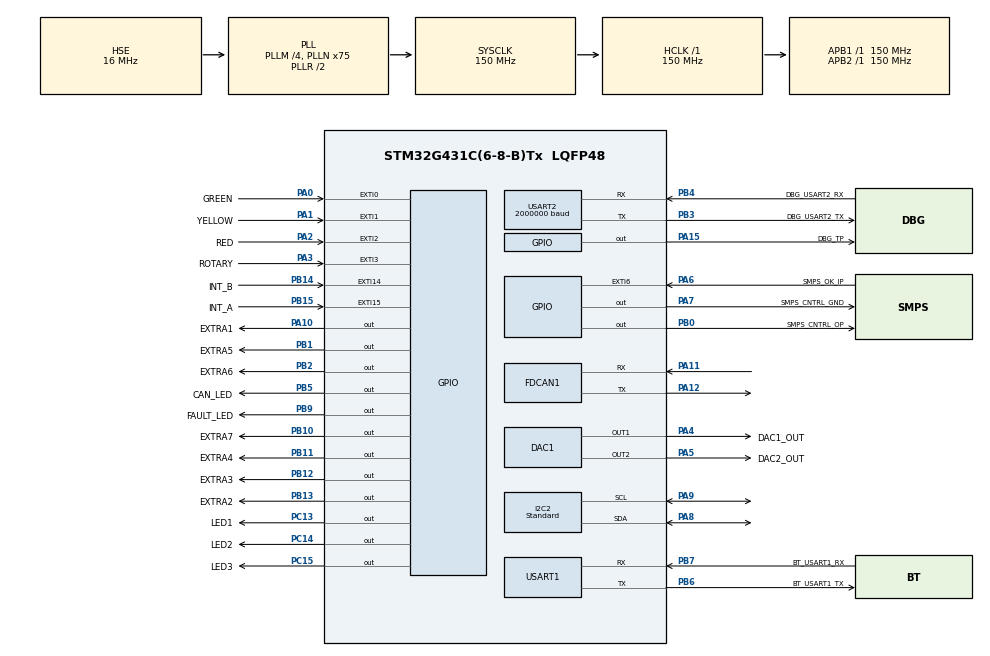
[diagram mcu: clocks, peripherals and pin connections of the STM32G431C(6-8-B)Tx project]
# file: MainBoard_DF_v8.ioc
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DAC1.DAC_Channel-DAC_OUT2=DAC_CHANNEL_2
Dma.Request0=USART2_TX
Dma.Request1=USART1_RX
Dma.USART1_RX.1.Direction=DMA_PERIPH_TO_MEMORY
Dma.USART1_RX.1.EventEnable=DISABLE
Dma.USART1_RX.1.Instance=DMA1_Channel1
Dma.USART1_RX.1.MemDataAlignment=DMA_MDATAALIGN_BYTE
Dma.USART1_RX.1.MemInc=DMA_MINC_ENABLE
Dma.USART1_RX.1.Mode=DMA_NORMAL
Dma.USART1_RX.1.PeriphDataAlignment=DMA_PDATAALIGN_BYTE
Dma.USART1_RX.1.PeriphInc=DMA_PINC_DISABLE
Dma.USART1_RX.1.Polarity=HAL_DMAMUX_REQ_GEN_RISING
Dma.USART1_RX.1.Priority=DMA_PRIORITY_LOW
Dma.USART1_RX.1.RequestNumber=1
Dma.USART1_RX.1.SignalID=NONE
Dma.USART1_RX.1.SyncEnable=DISABLE
Dma.USART1_RX.1.SyncPolarity=HAL_DMAMUX_SYNC_NO_EVENT
Dma.USART1_RX.1.SyncRequestNumber=1
Dma.USART1_RX.1.SyncSignalID=NONE
Dma.USART2_TX.0.Direction=DMA_MEMORY_TO_PERIPH
Dma.USART2_TX.0.EventEnable=DISABLE
Dma.USART2_TX.0.Instance=DMA1_Channel2
Dma.USART2_TX.0.MemDataAlignment=DMA_MDATAALIGN_BYTE
Dma.USART2_TX.0.MemInc=DMA_MINC_ENABLE
Dma.USART2_TX.0.Mode=DMA_NORMAL
Dma.USART2_TX.0.PeriphDataAlignment=DMA_PDATAALIGN_BYTE
Dma.USART2_TX.0.PeriphInc=DMA_PINC_DISABLE
Dma.USART2_TX.0.Polarity=HAL_DMAMUX_REQ_GEN_RISING
Dma.USART2_TX.0.Priority=DMA_PRIORITY_LOW
Dma.USART2_TX.0.RequestNumber=1
Dma.USART2_TX.0.SignalID=NONE
Dma.USART2_TX.0.SyncEnable=DISABLE
Dma.USART2_TX.0.SyncPolarity=HAL_DMAMUX_SYNC_NO_EVENT
Dma.USART2_TX.0.SyncRequestNumber=1
Dma.USART2_TX.0.SyncSignalID=NONE
FDCAN1.AutoRetransmission=ENABLE
FDCAN1.CalculateBaudRateNominal=5000000
FDCAN1.CalculateTimeBitNominal=200
FDCAN1.CalculateTimeQuantumNominal=6.666666666666667
FDCAN1.ClockDivider=FDCAN_CLOCK_DIV10
FDCAN1.DataSyncJumpWidth=3
FDCAN1.DataTimeSeg1=11
FDCAN1.DataTimeSeg2=3
FDCAN1.ExtFiltersNbr=1
FDCAN1.FrameFormat=FDCAN_FRAME_FD_BRS
FDCAN1.NominalPrescaler=1
FDCAN1.NominalSyncJumpWidth=6
FDCAN1.NominalTimeSeg1=23
FDCAN1.NominalTimeSeg2=6
FDCAN1.ProtocolException=DISABLE
FDCAN1.StdFiltersNbr=1
FDCAN1.TransmitPause=ENABLE
I2C2.Analog_Filter=I2C_ANALOGFILTER_DISABLE
I2C2.I2C_Fall_Time=200
I2C2.I2C_Rise_Time=300
I2C2.I2C_Speed_Mode=I2C_Standard
I2C2.NoStretchMode=I2C_NOSTRETCH_DISABLE
I2C2.Speed=50
I2C2.Timing=0x50D4E6FF
Mcu.Family=STM32G4
Mcu.Name=STM32G431C(6-8-B)Tx
Mcu.Package=LQFP48
NVIC.DMA1_Channel1_IRQn=true\:0\:0\:false\:false\:true\:false\:true\:true
NVIC.DMA1_Channel2_IRQn=true\:3\:0\:true\:false\:true\:false\:true\:true
NVIC.EXTI0_IRQn=true\:2\:0\:true\:false\:true\:true\:true\:true
NVIC.EXTI15_10_IRQn=true\:3\:0\:true\:false\:true\:true\:true\:true
NVIC.EXTI1_IRQn=true\:2\:0\:true\:false\:true\:true\:true\:true
NVIC.EXTI2_IRQn=true\:2\:0\:true\:false\:true\:true\:true\:true
NVIC.EXTI3_IRQn=true\:2\:0\:true\:false\:true\:true\:true\:true
NVIC.EXTI9_5_IRQn=true\:2\:0\:true\:false\:true\:true\:true\:true
NVIC.FDCAN1_IT0_IRQn=true\:0\:0\:false\:false\:true\:true\:true\:true
NVIC.PriorityGroup=NVIC_PRIORITYGROUP_4
NVIC.TIM1_BRK_TIM15_IRQn=true\:0\:0\:false\:false\:true\:true\:true\:true
NVIC.TIM1_TRG_COM_TIM17_IRQn=true\:5\:0\:true\:false\:true\:true\:true\:true
NVIC.TIM1_UP_TIM16_IRQn=true\:1\:0\:true\:false\:true\:true\:true\:true
NVIC.TIM6_DAC_IRQn=true\:0\:0\:false\:false\:true\:true\:true\:true
NVIC.TIM7_IRQn=true\:0\:0\:false\:false\:true\:true\:true\:true
NVIC.USART1_IRQn=true\:1\:0\:true\:false\:true\:true\:true\:true
NVIC.USART2_IRQn=true\:15\:0\:true\:false\:true\:true\:true\:true
PA0.GPIO_Label=GREEN
PA0.GPIO_ModeDefaultEXTI=GPIO_MODE_IT_RISING_FALLING
PA0.GPIO_PuPd=GPIO_PULLUP
PA0.Signal=GPXTI0
PA1.GPIO_Label=YELLOW
PA1.GPIO_ModeDefaultEXTI=GPIO_MODE_IT_RISING_FALLING
PA1.GPIO_PuPd=GPIO_PULLUP
PA1.Signal=GPXTI1
PA10.GPIO_Label=EXTRA1
PA10.Signal=GPIO_Output
PA11.Mode=FDCAN_Activate
PA11.Signal=FDCAN1_RX
PA12.Mode=FDCAN_Activate
PA12.Signal=FDCAN1_TX
PA13.Mode=Serial_Wire
PA13.Signal=SYS_JTMS-SWDIO
PA14.Mode=Serial_Wire
PA14.Signal=SYS_JTCK-SWCLK
PA15.GPIO_Label=DBG_TP
PA15.Signal=GPIO_Output
PA2.GPIO_Label=RED
PA2.GPIO_ModeDefaultEXTI=GPIO_MODE_IT_RISING_FALLING
PA2.GPIO_PuPd=GPIO_PULLUP
PA2.Signal=GPXTI2
PA3.GPIO_Label=ROTARY
PA3.GPIO_ModeDefaultEXTI=GPIO_MODE_IT_RISING_FALLING
PA3.Signal=GPXTI3
PA4.GPIO_Label=DAC1_OUT
PA4.Signal=COMP_DAC11_group
PA5.GPIO_Label=DAC2_OUT
PA5.Signal=COMP_DAC12_group
PA6.GPIO_Label=SMPS_OK_IP
PA6.GPIO_ModeDefaultEXTI=GPIO_MODE_IT_RISING_FALLING
PA6.Signal=GPXTI6
PA7.GPIO_Label=SMPS_CNTRL_GND
PA7.Signal=GPIO_Output
PA8.Mode=I2C
PA8.Signal=I2C2_SDA
PA9.Mode=I2C
PA9.Signal=I2C2_SCL
PB0.GPIO_Label=SMPS_CNTRL_OP
PB0.Signal=GPIO_Output
PB1.GPIO_Label=EXTRA5
PB1.Signal=GPIO_Output
PB10.GPIO_Label=EXTRA7
PB10.Signal=GPIO_Output
PB11.GPIO_Label=EXTRA4
PB11.Signal=GPIO_Output
PB12.GPIO_Label=EXTRA3
PB12.Signal=GPIO_Output
PB13.GPIO_Label=EXTRA2
PB13.Signal=GPIO_Output
PB14.GPIO_Label=INT_B
PB14.GPIO_ModeDefaultEXTI=GPIO_MODE_IT_FALLING
PB14.Signal=GPXTI14
PB15.GPIO_Label=INT_A
PB15.GPIO_ModeDefaultEXTI=GPIO_MODE_IT_FALLING
PB15.Signal=GPXTI15
PB2.GPIO_Label=EXTRA6
PB2.Signal=GPIO_Output
PB3.GPIO_Label=DBG_USART2_TX
PB3.Mode=Asynchronous
PB3.Signal=USART2_TX
PB4.GPIO_Label=DBG_USART2_RX
PB4.Mode=Asynchronous
PB4.Signal=USART2_RX
PB5.GPIO_Label=CAN_LED
PB5.Signal=GPIO_Output
PB6.GPIO_Label=BT_USART1_TX
PB6.Mode=Asynchronous
PB6.Signal=USART1_TX
PB7.GPIO_Label=BT_USART1_RX
PB7.Mode=Asynchronous
PB7.Signal=USART1_RX
PB9.GPIO_Label=FAULT_LED
PB9.Signal=GPIO_Output
PC13.GPIO_Label=LED1
PC13.GPIO_ModeDefaultOutputPP=GPIO_MODE_OUTPUT_PP
PC13.GPIO_PuPd=GPIO_NOPULL
PC13.Signal=GPIO_Output
PC14-OSC32_IN.GPIO_Label=LED2
PC14-OSC32_IN.GPIO_ModeDefaultOutputPP=GPIO_MODE_OUTPUT_PP
PC14-OSC32_IN.GPIO_PuPd=GPIO_NOPULL
PC14-OSC32_IN.Signal=GPIO_Output
PC15-OSC32_OUT.GPIO_Label=LED3
PC15-OSC32_OUT.GPIO_ModeDefaultOutputPP=GPIO_MODE_OUTPUT_PP
PC15-OSC32_OUT.GPIO_PuPd=GPIO_NOPULL
PC15-OSC32_OUT.Signal=GPIO_Output
PF0-OSC_IN.Mode=HSE-External-Oscillator
PF0-OSC_IN.Signal=RCC_OSC_IN
PF1-OSC_OUT.Mode=HSE-External-Oscillator
PF1-OSC_OUT.Signal=RCC_OSC_OUT
ProjectManager.HeapSize=0x200
ProjectManager.StackSize=0x400
ProjectManager.TargetToolchain=STM32CubeIDE
RCC.ADC12Freq_Value=150000000
RCC.AHBFreq_Value=150000000
RCC.APB1Freq_Value=150000000
RCC.APB1TimFreq_Value=150000000
RCC.APB2Freq_Value=150000000
RCC.APB2TimFreq_Value=150000000
RCC.CortexFreq_Value=150000000
RCC.EXTERNAL_CLOCK_VALUE=12288000
RCC.HCLKFreq_Value=150000000
RCC.HSE_VALUE=16000000
RCC.HSI48_VALUE=48000000
RCC.HSI_VALUE=16000000
RCC.LSE_VALUE=32768
RCC.PLLM=RCC_PLLM_DIV4
RCC.PLLN=75
RCC.PLLSourceVirtual=RCC_PLLSOURCE_HSE
RCC.SYSCLKFreq_VALUE=150000000
RCC.SYSCLKSource=RCC_SYSCLKSOURCE_PLLCLK
RCC.USBFreq_Value=150000000
RCC.VCOOutputFreq_Value=300000000
SH.COMP_DAC11_group.0=DAC1_OUT1,DAC_OUT1
SH.COMP_DAC12_group.0=DAC1_OUT2,DAC_OUT2
TIM15.PeriodNoDither=24999
TIM15.Prescaler=1499
TIM16.AutoReloadPreload=TIM_AUTORELOAD_PRELOAD_ENABLE
TIM16.Dithering=Disable
TIM16.PeriodNoDither=4999
TIM16.Prescaler=29999
TIM17.AutoReloadPreload=TIM_AUTORELOAD_PRELOAD_ENABLE
TIM17.PeriodNoDither=1499
TIM17.Prescaler=1499
TIM6.PeriodNoDither=49999
TIM6.Prescaler=1499
TIM7.PeriodNoDither=9999
TIM7.Prescaler=1499
USART1.DMADisableonRxErrorParam=ADVFEATURE_DMA_DISABLEONRXERROR
USART1.OverrunDisableParam=ADVFEATURE_OVERRUN_DISABLE
USART1.SwapParam=ADVFEATURE_SWAP_ENABLE
USART1.VirtualMode-Asynchronous=VM_ASYNC
USART2.BaudRate=2000000
USART2.VirtualMode-Asynchronous=VM_ASYNC
VP_TIM15_VS_ClockSourceINT.Mode=Internal
VP_TIM16_VS_ClockSourceINT.Mode=Enable_Timer
VP_TIM17_VS_ClockSourceINT.Mode=Enable_Timer
VP_TIM6_VS_ClockSourceINT.Mode=Enable_Timer
VP_TIM7_VS_ClockSourceINT.Mode=Enable_Timer
board=custom

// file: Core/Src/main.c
/* USER CODE BEGIN Header */
/**
  ******************************************************************************
  * @file           : main.c
  * @brief          : Main program body
  ******************************************************************************
  * @attention
  *
  * Copyright (c) 2022 STMicroelectronics.
  * All rights reserved.
  *
  * This software is licensed under terms that can be found in the LICENSE file
  * in the root directory of this software component.
  * If no LICENSE file comes with this software, it is provided AS-IS.
  *
  ******************************************************************************
  */
/* USER CODE END Header */
#include "main.h"

/* USER CODE BEGIN Includes */
#include "FDCAN.h"
#include "CAN_MotherBoard.h"
#include "Ack.h"

#include "machineSettings.h"
#include "MachineErrors.h"
#include "MotorComms.h"
#include "SysObserver.h"

#include "userButtons.h"
#include "TowerLamp.h"
#include "SMPS.h"
#include "MachineSensors.h"
#include "mcp23017.h"
#include "Eeprom.h"
#include "Log.h"

#include "Struct.h"
#include "StateMachine.h"
#include "CommonConstants.h"

#include "BT_Fns.h"
#include "BT_Machine.h"
#include "BT_Console.h"

#include "MB_LEDs.h"
#include "DataRequest.h"
#include "machineEepromSettings.h"

/* USER CODE END Includes */

/* USER CODE BEGIN PTD */
#define MCP23017_ADDRESS	0x21
/* USER CODE END PTD */

DAC_HandleTypeDef hdac1;

FDCAN_HandleTypeDef hfdcan1;

I2C_HandleTypeDef hi2c2;

TIM_HandleTypeDef htim6;
TIM_HandleTypeDef htim7;
TIM_HandleTypeDef htim15;
TIM_HandleTypeDef htim16;
TIM_HandleTypeDef htim17;

UART_HandleTypeDef huart1;
UART_HandleTypeDef huart2;
DMA_HandleTypeDef hdma_usart1_rx;
DMA_HandleTypeDef hdma_usart2_tx;

/* USER CODE BEGIN PV */
machineSettingsTypeDef msp;
machineSettingsTypeDef ps;
machineSettingsTypeDef msp_BT;
mcPIDSettings pid_BT;
machineParamsTypeDef mcParams;
MBErrorsTypeDef MBE;
MachineErrorsTypedef ME;

SetupMotor SU[3];
ACKTypeDef ack;

StateTypeDef S;
DiagnosticsTypeDef D;
RunTime_TypeDef R[3]; // always keep this as 6, as max is 6 for carding

SysObserver SO;
BTRecvMsg_TypeDef BT;
BTConsole BTCmd;

userBtns usrBtns;
MCP23017_HandleTypeDef hmcp;
MCP23017_PortB mcp_portB;
MCP23017_PortB mcp_portB_whichSensor;
MCP23017_PortB mcp_portB_sensorVal;
SensorTypeDef sensor;
Log L;

DataReq DR;
ALSettings_BT_TypeDef al_bt;

char BufferRec[150];
char BufferTransmit[150] ;// Buffer for Transmit
char LogBuffer[2048];

/* USER CODE END PV */

void SystemClock_Config(void);
static void MX_GPIO_Init(void);
static void MX_DMA_Init(void);
static void MX_FDCAN1_Init(void);
static void MX_USART1_UART_Init(void);
static void MX_DAC1_Init(void);
static void MX_USART2_UART_Init(void);
static void MX_I2C2_Init(void);
static void MX_TIM17_Init(void);
static void MX_TIM16_Init(void);
static void MX_TIM15_Init(void);
static void MX_TIM7_Init(void);
static void MX_TIM6_Init(void);

/* USER CODE BEGIN 0 */

uint8_t stopSMPS = 0;
uint8_t timer7Count = 0;

void HAL_TIM_PeriodElapsedCallback(TIM_HandleTypeDef *htim)
{
  UNUSED(htim);
  if(htim==&htim17){	// ACK TIMER - 15ms
	ack.waitingForAckResult = 0;
	if (ack.motorAcksCheck == ack.motorAcksRecvd){
		ack.ackResult = ACK_SUCCESS;
	}else{
		ack.ackResult = ACK_FAIL;
		if (ack.ackChkType == CRITICAL_ACK){
			ME.ErrorFlag = 1;
			ME_addErrors(&ME,ERR_SYSTEM_LEVEL_SOURCE, SYS_ACK_ERROR, ERROR_SOURCE_SYSTEM, ack.ackForWhat); // maybe later find out which ACK failed.
			S.SMPS_switchOff = 1;
		}
	}
	HAL_TIM_Base_Stop_IT(&htim17);
  }

  if (htim == &htim16){ // 1 sec timer that checks if the CAN connections are all OK.
	  SO.canOverallStatus = SO_checkCanObservers(&SO);
	  /*if (SO.canOverallStatus != ALL_CANS_HEALTHY){
		  ME.ErrorFlag = 1;
		  ME_addErrors(&ME,ERR_SYSTEM_LEVEL_SOURCE,SYS_CAN_CUT_ERROR, SO.canOverallStatus, 0); // maybe later find out which ACK failed.
		  S.SMPS_switchOff = 1;
		  //stp the timer if you find you have an error.
		  HAL_TIM_Base_Stop_IT(&htim16);
	  }*/
  }

  if(htim==&htim15){
	  // This is meant to send motor run time data to the app when diag is running.
	  // 5,6,7 motor IDs are drafting,winding and lift both. else only 1 motor at a time
	  if ((D.motorID <= 4)|| (D.motorID > 7)){
		  uint8_t packetSize = BT_MC_generateDiagnosticMsg(D.motorID);
		  HAL_UART_Transmit_IT(&huart1,(uint8_t*)BufferTransmit,packetSize);
	  }
	  else{
		  // finding which motors happens inside.
		  uint8_t packetSize = BT_MC_generateDiagnosticMsg_DoubleMotors(D.motorID);
		  HAL_UART_Transmit_IT(&huart1,(uint8_t*)BufferTransmit,packetSize);
	  }
  }

  if(htim == &htim7){ //100ms timer for state sending to BT
	  timer7Count ++;
	  if (timer7Count % 5 == 0){
		  S.BT_sendState = 1;
		  if (S.runMode== RUN_ALL){
			  mcParams.currentDeliveryMMin = CalculateDeliverySpeed(R[0].presentRPM);
			  mcParams.currentMtrsRun += mcParams.currentDeliveryMMin/60.0 * 0.5;
		  }
	  }

	  if (timer7Count == 10){
		  S.oneSecTimer++;
		  timer7Count = 0;
		  Toggle_State_LEDs(&S);
		  if(DR.requestSent){
			  DR.timer++;
		  }
		  if (sensor.lappingTimerIncrementBool){
			  sensor.lappingSensorTimer++;
		  }
		  if (sensor.sliverCutTimerIncrementBool){
			  sensor.slivercutSensorTimer++;
		  }
	  }
  }

}

uint8_t sensorTrigger;
uint8_t sensorVal;
void HAL_GPIO_EXTI_Callback(uint16_t GPIO_Pin){
	UNUSED(GPIO_Pin);

	if (GPIO_Pin == INT_B_Pin){
		sensorTrigger = Sensor_whichTriggered(&hmcp,&mcp_portB_sensorVal);
		if (sensorTrigger == LAPPING_SENSOR){
			sensor.lappingSensor = Sensor_GetTriggerValue(&hmcp,&mcp_portB_sensorVal,LAPPING_SENSOR);
		}else if (sensorTrigger == CREEL_SLIVER_CUT_SENSOR){
			sensor.sliverCutSensor = Sensor_GetTriggerValue(&hmcp,&mcp_portB_sensorVal,CREEL_SLIVER_CUT_SENSOR);
		}
	}else if (GPIO_Pin == SMPS_OK_IP_Pin){
		// if the mother board has turned the SMPS on, but the smps is off, we have a problem!
		S.SMPS_OK_signal = (uint8_t)(HAL_GPIO_ReadPin(SMPS_OK_IP_GPIO_Port, SMPS_OK_IP_Pin));
		/*if ((S.SMPS_cntrl == SMPS_TURNEDON) && (S.SMPS_OK_signal == SMPS_OFF)){
			ME.ErrorFlag = 1;
			ME_addErrors(&ME,ERR_SYSTEM_LEVEL_SOURCE, SYS_SMPS_ERROR, ERROR_SOURCE_SYSTEM,0); // maybe later find out which ACK failed.
			S.SMPS_switchOff = 1;
		}*/
	}
	else{
		// for the user input buttons - RED_pin,Green_Pin,Yellow_Pin are falling edge interrupts. Rotary_Pin is both
		 usrBtns.initialState =(uint8_t)(HAL_GPIO_ReadPin(RED_GPIO_Port, GPIO_Pin));
		 if (GPIO_Pin == RED_Pin){
			  usrBtns.redBtn = usrBtns.initialState;
		  }
		  else if (GPIO_Pin == GREEN_Pin){
			  usrBtns.greenBtn = usrBtns.initialState;
		  }
		  else if (GPIO_Pin == YELLOW_Pin){
			  usrBtns.yellowBtn = usrBtns.initialState;
		  }else{
			  usrBtns.rotarySwitch = usrBtns.initialState;
		  }
	}
}

void HAL_FDCAN_RxFifo0Callback(FDCAN_HandleTypeDef *hfdcan, uint32_t RxFifo0ITs)
{

  if((RxFifo0ITs & FDCAN_IT_RX_FIFO0_NEW_MESSAGE) != RESET)
  {
    /* Retreive Rx messages from RX FIFO0 */
    if (HAL_FDCAN_GetRxMessage(hfdcan, FDCAN_RX_FIFO0, &RxHeader, RxData) == HAL_OK)
    {
    	FDCAN_parseForMotherBoard();
    }
    if (HAL_FDCAN_ActivateNotification(hfdcan, FDCAN_IT_RX_FIFO0_NEW_MESSAGE, 0) != HAL_OK)
    {
      /* Notification Error */
      Error_Handler();
    }
  }
}
/* USER CODE END 0 */

int main(void)
{

  /* MCU Configuration--------------------------------------------------------*/

  /* Reset of all peripherals, Initializes the Flash interface and the Systick. */
  HAL_Init();

  /* Configure the system clock */
  SystemClock_Config();

  /* Initialize all configured peripherals */
  MX_GPIO_Init();
  MX_DMA_Init();
  MX_FDCAN1_Init();
  MX_USART1_UART_Init();
  MX_DAC1_Init();
  MX_USART2_UART_Init();
  MX_I2C2_Init();
  MX_TIM17_Init();
  MX_TIM16_Init();
  MX_TIM15_Init();
  MX_TIM7_Init();
  MX_TIM6_Init();
  /* USER CODE BEGIN 2 */

  //SInitialize custom typeDefs
  InitializeDiagnostic_TypeDef(&D);
  InitializeMachineSettings(&msp);
  InitializeMotherBoardErrors_TypeDef(&MBE);
  InitializeState_TypeDef(&S);
  InitializeRunTime_TypeDef();
  InitializeBTMsg_TypeDef(&BT);

  FDCAN_TxInit();
  FDCAN_RxFilterInit();

  //get Flyer Settings from Eeprom
  ReadMachineSettingsFromEeprom(&msp);
  //TODO change this to the setup method like in the motor sections.
  MBE.EepromLoadValsGood  = CheckMachineSettings(&msp);
  //MBE.EepromLoadValsGood = 0;
  if (MBE.EepromLoadValsGood == 0){
	  LoadDefaultMachineSettings(&msp);
	  //manualWrite
	  /*msp.delivery_mMin = 80;
	  msp.draft = 8.0;
	  msp.lengthLimit_m = 100;
	  msp.rampUpTime = 8;
	  msp.rampDownTime = 8;
	  msp.creelTensionFactor  = 1;
	  */
	  MBE.defaults_eepromWriteFailed = WriteMachineSettingsIntoEeprom(&msp);
  }
  CalculateMachineParameters(&msp,&mcParams);
  ReadySetupCommand_AllMotors(&msp,&mcParams);
  ReadALSettingsFromEeprom(&al_bt);
   uint16_t alValidFlag = EE_ReadInteger(AL_VALID_FLAG_ADDR);
   if ((alValidFlag != AL_VALID_FLAG_VALUE) || (CheckALSettings(&al_bt) == 0)) {
       LoadDefaultALSettings(&al_bt);
       // write defaults so next boot reads valid data
       WriteALSettingsIntoEeprom(&al_bt);
   }

  InitializePiecingSettings(&ps);

  //Interrupts on UART1 connected to the bluetooth
  __HAL_UART_ENABLE_IT(&huart1,UART_IT_IDLE);//interrupt on receive buffer not empty(buffer full)
  __HAL_UART_ENABLE_IT(&huart1,UART_IT_TC );//interrupt on Transmission Complete
  HAL_UART_Receive_DMA(&huart1,(uint8_t *)BufferRec,150);	 // start the receive here.

  __HAL_UART_ENABLE_IT(&huart2,UART_IT_TC );//interrupt on Transmission Complete

  //set up MCP chip
  mcp23017_init(&hmcp, &hi2c2, MCP23017_ADDRESS);
  mcp23017_setupForMainBoard(&hmcp);
  //set the initial Tower Lamp State
  TowerLamp_SetState(&hmcp, &mcp_portB,BUZZER_OFF,RED_OFF,GREEN_OFF,AMBER_OFF);
  TowerLamp_ApplyState(&hmcp,&mcp_portB);

  //read initial btns states and set either setup or run state.
  UsrBtns_SetInitialStates();
  S.current_state = INITIAL_STATE;
  ChangeState(&S,IDLE_STATE);

  //Setup the Bluetooth device MANUALLY ONLY.
  BTCmd.manual_setup = 0;
  if (BTCmd.manual_setup){
	  BTCmd.manual_setup_result = BT_SetupDevice();
	  if(BTCmd.manual_setup_result != 1){
		 BTCmd.manual_setup_rebootOK = BTConsole_WriteCMD(BTCMD_REBOOT);
	  }
  }

  //Start the 100 msec Timer for sending BT state commands
  HAL_TIM_Base_Start_IT(&htim7);
  //Start the 1000 msec Timer for checking if the CAN bus is Ok
  HAL_TIM_Base_Start_IT(&htim16);

  //TODO : Read the state and set these values.
  sensor.lappingSensor = Sensor_ReadValueDirectly(&hmcp,&mcp_portB_sensorVal,LAPPING_SENSOR); // initial state
  sensor.sliverCutSensor = Sensor_ReadValueDirectly(&hmcp,&mcp_portB_sensorVal,CREEL_SLIVER_CUT_SENSOR);

  //SMPS - turn on the SMPS, wait a while to see if  short command.
  SMPS_Init();
  HAL_Delay(1000);//contactor takes a long time to turn on.
  S.SMPS_cntrl = SMPS_TURNEDON;

  /* USER CODE END 2 */

  /* Infinite loop */
  /* USER CODE BEGIN WHILE */

  while (1)
  {

	if (S.current_state == IDLE_STATE){
		IdleState();
	}

	if (S.current_state == RUN_STATE){
		RunState();
	}

	if (S.current_state == DEBUG_STATE){
		DebugState();
	}

	if (S.current_state == DIAGNOSTICS_STATE){
		DiagnosticsState();
	}

	if (S.current_state == SETTINGS_STATE){
		SettingsState();
	}

	if (S.current_state == ERROR_STATE){
		ErrorState();
	}
	if (S.current_state == FINISHED_STATE){
		FinishState();
	}

    /* USER CODE END WHILE */

  }
}

void SystemClock_Config(void)
{
  RCC_OscInitTypeDef RCC_OscInitStruct = {0};
  RCC_ClkInitTypeDef RCC_ClkInitStruct = {0};

  /** Configure the main internal regulator output voltage
  */
  HAL_PWREx_ControlVoltageScaling(PWR_REGULATOR_VOLTAGE_SCALE1);

  /** Initializes the RCC Oscillators according to the specified parameters
  * in the RCC_OscInitTypeDef structure.
  */
  RCC_OscInitStruct.OscillatorType = RCC_OSCILLATORTYPE_HSE;
  RCC_OscInitStruct.HSEState = RCC_HSE_ON;
  RCC_OscInitStruct.PLL.PLLState = RCC_PLL_ON;
  RCC_OscInitStruct.PLL.PLLSource = RCC_PLLSOURCE_HSE;
  RCC_OscInitStruct.PLL.PLLM = RCC_PLLM_DIV4;
  RCC_OscInitStruct.PLL.PLLN = 75;
  RCC_OscInitStruct.PLL.PLLP = RCC_PLLP_DIV2;
  RCC_OscInitStruct.PLL.PLLQ = RCC_PLLQ_DIV2;
  RCC_OscInitStruct.PLL.PLLR = RCC_PLLR_DIV2;
  if (HAL_RCC_OscConfig(&RCC_OscInitStruct) != HAL_OK)
  {
    Error_Handler();
  }

  /** Initializes the CPU, AHB and APB buses clocks
  */
  RCC_ClkInitStruct.ClockType = RCC_CLOCKTYPE_HCLK|RCC_CLOCKTYPE_SYSCLK
                              |RCC_CLOCKTYPE_PCLK1|RCC_CLOCKTYPE_PCLK2;
  RCC_ClkInitStruct.SYSCLKSource = RCC_SYSCLKSOURCE_PLLCLK;
  RCC_ClkInitStruct.AHBCLKDivider = RCC_SYSCLK_DIV1;
  RCC_ClkInitStruct.APB1CLKDivider = RCC_HCLK_DIV1;
  RCC_ClkInitStruct.APB2CLKDivider = RCC_HCLK_DIV1;

  if (HAL_RCC_ClockConfig(&RCC_ClkInitStruct, FLASH_LATENCY_4) != HAL_OK)
  {
    Error_Handler();
  }
}

static void MX_DAC1_Init(void)
{

  DAC_ChannelConfTypeDef sConfig = {0};

  /** DAC Initialization
  */
  hdac1.Instance = DAC1;
  if (HAL_DAC_Init(&hdac1) != HAL_OK)
  {
    Error_Handler();
  }

  /** DAC channel OUT1 config
  */
  sConfig.DAC_HighFrequency = DAC_HIGH_FREQUENCY_INTERFACE_MODE_AUTOMATIC;
  sConfig.DAC_DMADoubleDataMode = DISABLE;
  sConfig.DAC_SignedFormat = DISABLE;
  sConfig.DAC_SampleAndHold = DAC_SAMPLEANDHOLD_DISABLE;
  sConfig.DAC_Trigger = DAC_TRIGGER_NONE;
  sConfig.DAC_Trigger2 = DAC_TRIGGER_NONE;
  sConfig.DAC_OutputBuffer = DAC_OUTPUTBUFFER_ENABLE;
  sConfig.DAC_ConnectOnChipPeripheral = DAC_CHIPCONNECT_EXTERNAL;
  sConfig.DAC_UserTrimming = DAC_TRIMMING_FACTORY;
  if (HAL_DAC_ConfigChannel(&hdac1, &sConfig, DAC_CHANNEL_1) != HAL_OK)
  {
    Error_Handler();
  }

  /** DAC channel OUT2 config
  */
  if (HAL_DAC_ConfigChannel(&hdac1, &sConfig, DAC_CHANNEL_2) != HAL_OK)
  {
    Error_Handler();
  }

}

static void MX_FDCAN1_Init(void)
{

  hfdcan1.Instance = FDCAN1;
  hfdcan1.Init.ClockDivider = FDCAN_CLOCK_DIV10;
  hfdcan1.Init.FrameFormat = FDCAN_FRAME_FD_BRS;
  hfdcan1.Init.Mode = FDCAN_MODE_NORMAL;
  hfdcan1.Init.AutoRetransmission = ENABLE;
  hfdcan1.Init.TransmitPause = ENABLE;
  hfdcan1.Init.ProtocolException = DISABLE;
  hfdcan1.Init.NominalPrescaler = 1;
  hfdcan1.Init.NominalSyncJumpWidth = 6;
  hfdcan1.Init.NominalTimeSeg1 = 23;
  hfdcan1.Init.NominalTimeSeg2 = 6;
  hfdcan1.Init.DataPrescaler = 1;
  hfdcan1.Init.DataSyncJumpWidth = 3;
  hfdcan1.Init.DataTimeSeg1 = 11;
  hfdcan1.Init.DataTimeSeg2 = 3;
  hfdcan1.Init.StdFiltersNbr = 1;
  hfdcan1.Init.ExtFiltersNbr = 1;
  hfdcan1.Init.TxFifoQueueMode = FDCAN_TX_FIFO_OPERATION;
  if (HAL_FDCAN_Init(&hfdcan1) != HAL_OK)
  {
    Error_Handler();
  }

}

static void MX_I2C2_Init(void)
{

  hi2c2.Instance = I2C2;
  hi2c2.Init.Timing = 0x50D4E6FF;
  hi2c2.Init.OwnAddress1 = 0;
  hi2c2.Init.AddressingMode = I2C_ADDRESSINGMODE_7BIT;
  hi2c2.Init.DualAddressMode = I2C_DUALADDRESS_DISABLE;
  hi2c2.Init.OwnAddress2 = 0;
  hi2c2.Init.OwnAddress2Masks = I2C_OA2_NOMASK;
  hi2c2.Init.GeneralCallMode = I2C_GENERALCALL_DISABLE;
  hi2c2.Init.NoStretchMode = I2C_NOSTRETCH_DISABLE;
  if (HAL_I2C_Init(&hi2c2) != HAL_OK)
  {
    Error_Handler();
  }

  /** Configure Analogue filter
  */
  if (HAL_I2CEx_ConfigAnalogFilter(&hi2c2, I2C_ANALOGFILTER_DISABLE) != HAL_OK)
  {
    Error_Handler();
  }

  /** Configure Digital filter
  */
  if (HAL_I2CEx_ConfigDigitalFilter(&hi2c2, 0) != HAL_OK)
  {
    Error_Handler();
  }

}

static void MX_TIM6_Init(void)
{

  TIM_MasterConfigTypeDef sMasterConfig = {0};

  htim6.Instance = TIM6;
  htim6.Init.Prescaler = 1499;
  htim6.Init.CounterMode = TIM_COUNTERMODE_UP;
  htim6.Init.Period = 49999;
  htim6.Init.AutoReloadPreload = TIM_AUTORELOAD_PRELOAD_DISABLE;
  if (HAL_TIM_Base_Init(&htim6) != HAL_OK)
  {
    Error_Handler();
  }
  sMasterConfig.MasterOutputTrigger = TIM_TRGO_RESET;
  sMasterConfig.MasterSlaveMode = TIM_MASTERSLAVEMODE_DISABLE;
  if (HAL_TIMEx_MasterConfigSynchronization(&htim6, &sMasterConfig) != HAL_OK)
  {
    Error_Handler();
  }

}

static void MX_TIM7_Init(void)
{

  TIM_MasterConfigTypeDef sMasterConfig = {0};

  htim7.Instance = TIM7;
  htim7.Init.Prescaler = 1499;
  htim7.Init.CounterMode = TIM_COUNTERMODE_UP;
  htim7.Init.Period = 9999;
  htim7.Init.AutoReloadPreload = TIM_AUTORELOAD_PRELOAD_DISABLE;
  if (HAL_TIM_Base_Init(&htim7) != HAL_OK)
  {
    Error_Handler();
  }
  sMasterConfig.MasterOutputTrigger = TIM_TRGO_RESET;
  sMasterConfig.MasterSlaveMode = TIM_MASTERSLAVEMODE_DISABLE;
  if (HAL_TIMEx_MasterConfigSynchronization(&htim7, &sMasterConfig) != HAL_OK)
  {
    Error_Handler();
  }

}

static void MX_TIM15_Init(void)
{

  TIM_ClockConfigTypeDef sClockSourceConfig = {0};
  TIM_MasterConfigTypeDef sMasterConfig = {0};

  htim15.Instance = TIM15;
  htim15.Init.Prescaler = 1499;
  htim15.Init.CounterMode = TIM_COUNTERMODE_UP;
  htim15.Init.Period = 24999;
  htim15.Init.ClockDivision = TIM_CLOCKDIVISION_DIV1;
  htim15.Init.RepetitionCounter = 0;
  htim15.Init.AutoReloadPreload = TIM_AUTORELOAD_PRELOAD_DISABLE;
  if (HAL_TIM_Base_Init(&htim15) != HAL_OK)
  {
    Error_Handler();
  }
  sClockSourceConfig.ClockSource = TIM_CLOCKSOURCE_INTERNAL;
  if (HAL_TIM_ConfigClockSource(&htim15, &sClockSourceConfig) != HAL_OK)
  {
    Error_Handler();
  }
  sMasterConfig.MasterOutputTrigger = TIM_TRGO_RESET;
  sMasterConfig.MasterSlaveMode = TIM_MASTERSLAVEMODE_DISABLE;
  if (HAL_TIMEx_MasterConfigSynchronization(&htim15, &sMasterConfig) != HAL_OK)
  {
    Error_Handler();
  }

}

static void MX_TIM16_Init(void)
{

  htim16.Instance = TIM16;
  htim16.Init.Prescaler = 29999;
  htim16.Init.CounterMode = TIM_COUNTERMODE_UP;
  htim16.Init.Period = 4999;
  htim16.Init.ClockDivision = TIM_CLOCKDIVISION_DIV1;
  htim16.Init.RepetitionCounter = 0;
  htim16.Init.AutoReloadPreload = TIM_AUTORELOAD_PRELOAD_ENABLE;
  if (HAL_TIM_Base_Init(&htim16) != HAL_OK)
  {
    Error_Handler();
  }

}

static void MX_TIM17_Init(void)
{

  /* USER CODE BEGIN TIM17_Init 1 */
//2uS timer
  /* USER CODE END TIM17_Init 1 */
  htim17.Instance = TIM17;
  htim17.Init.Prescaler = 1499;
  htim17.Init.CounterMode = TIM_COUNTERMODE_UP;
  htim17.Init.Period = 1499;
  htim17.Init.ClockDivision = TIM_CLOCKDIVISION_DIV1;
  htim17.Init.RepetitionCounter = 0;
  htim17.Init.AutoReloadPreload = TIM_AUTORELOAD_PRELOAD_ENABLE;
  if (HAL_TIM_Base_Init(&htim17) != HAL_OK)
  {
    Error_Handler();
  }

}

static void MX_USART1_UART_Init(void)
{

  huart1.Instance = USART1;
  huart1.Init.BaudRate = 115200;
  huart1.Init.WordLength = UART_WORDLENGTH_8B;
  huart1.Init.StopBits = UART_STOPBITS_1;
  huart1.Init.Parity = UART_PARITY_NONE;
  huart1.Init.Mode = UART_MODE_TX_RX;
  huart1.Init.HwFlowCtl = UART_HWCONTROL_NONE;
  huart1.Init.OverSampling = UART_OVERSAMPLING_16;
  huart1.Init.OneBitSampling = UART_ONE_BIT_SAMPLE_DISABLE;
  huart1.Init.ClockPrescaler = UART_PRESCALER_DIV1;
  huart1.AdvancedInit.AdvFeatureInit = UART_ADVFEATURE_SWAP_INIT|UART_ADVFEATURE_RXOVERRUNDISABLE_INIT
                              |UART_ADVFEATURE_DMADISABLEONERROR_INIT;
  huart1.AdvancedInit.Swap = UART_ADVFEATURE_SWAP_ENABLE;
  huart1.AdvancedInit.OverrunDisable = UART_ADVFEATURE_OVERRUN_DISABLE;
  huart1.AdvancedInit.DMADisableonRxError = UART_ADVFEATURE_DMA_DISABLEONRXERROR;
  if (HAL_UART_Init(&huart1) != HAL_OK)
  {
    Error_Handler();
  }
  if (HAL_UARTEx_SetTxFifoThreshold(&huart1, UART_TXFIFO_THRESHOLD_1_8) != HAL_OK)
  {
    Error_Handler();
  }
  if (HAL_UARTEx_SetRxFifoThreshold(&huart1, UART_RXFIFO_THRESHOLD_1_8) != HAL_OK)
  {
    Error_Handler();
  }
  if (HAL_UARTEx_DisableFifoMode(&huart1) != HAL_OK)
  {
    Error_Handler();
  }

}

static void MX_USART2_UART_Init(void)
{

  huart2.Instance = USART2;
  huart2.Init.BaudRate = 2000000;
  huart2.Init.WordLength = UART_WORDLENGTH_8B;
  huart2.Init.StopBits = UART_STOPBITS_1;
  huart2.Init.Parity = UART_PARITY_NONE;
  huart2.Init.Mode = UART_MODE_TX_RX;
  huart2.Init.HwFlowCtl = UART_HWCONTROL_NONE;
  huart2.Init.OverSampling = UART_OVERSAMPLING_16;
  huart2.Init.OneBitSampling = UART_ONE_BIT_SAMPLE_DISABLE;
  huart2.Init.ClockPrescaler = UART_PRESCALER_DIV1;
  huart2.AdvancedInit.AdvFeatureInit = UART_ADVFEATURE_NO_INIT;
  if (HAL_UART_Init(&huart2) != HAL_OK)
  {
    Error_Handler();
  }
  if (HAL_UARTEx_SetTxFifoThreshold(&huart2, UART_TXFIFO_THRESHOLD_1_8) != HAL_OK)
  {
    Error_Handler();
  }
  if (HAL_UARTEx_SetRxFifoThreshold(&huart2, UART_RXFIFO_THRESHOLD_1_8) != HAL_OK)
  {
    Error_Handler();
  }
  if (HAL_UARTEx_DisableFifoMode(&huart2) != HAL_OK)
  {
    Error_Handler();
  }

}

static void MX_DMA_Init(void)
{

  /* DMA controller clock enable */
  __HAL_RCC_DMAMUX1_CLK_ENABLE();
  __HAL_RCC_DMA1_CLK_ENABLE();

  /* DMA interrupt init */
  /* DMA1_Channel1_IRQn interrupt configuration */
  HAL_NVIC_SetPriority(DMA1_Channel1_IRQn, 0, 0);
  HAL_NVIC_EnableIRQ(DMA1_Channel1_IRQn);
  /* DMA1_Channel2_IRQn interrupt configuration */
  HAL_NVIC_SetPriority(DMA1_Channel2_IRQn, 3, 0);
  HAL_NVIC_EnableIRQ(DMA1_Channel2_IRQn);

}

static void MX_GPIO_Init(void)
{
  GPIO_InitTypeDef GPIO_InitStruct = {0};

  /* GPIO Ports Clock Enable */
  __HAL_RCC_GPIOC_CLK_ENABLE();
  __HAL_RCC_GPIOF_CLK_ENABLE();
  __HAL_RCC_GPIOA_CLK_ENABLE();
  __HAL_RCC_GPIOB_CLK_ENABLE();

  /*Configure GPIO pin Output Level */
  HAL_GPIO_WritePin(GPIOC, LED1_Pin|LED2_Pin|LED3_Pin, GPIO_PIN_RESET);

  /*Configure GPIO pin Output Level */
  HAL_GPIO_WritePin(GPIOA, SMPS_CNTRL_GND_Pin|EXTRA1_Pin|DBG_TP_Pin, GPIO_PIN_RESET);

  /*Configure GPIO pin Output Level */
  HAL_GPIO_WritePin(GPIOB, SMPS_CNTRL_OP_Pin|EXTRA5_Pin|EXTRA6_Pin|EXTRA7_Pin
                          |EXTRA4_Pin|EXTRA3_Pin|EXTRA2_Pin|CAN_LED_Pin
                          |FAULT_LED_Pin, GPIO_PIN_RESET);

  /*Configure GPIO pins : LED1_Pin LED2_Pin LED3_Pin */
  GPIO_InitStruct.Pin = LED1_Pin|LED2_Pin|LED3_Pin;
  GPIO_InitStruct.Mode = GPIO_MODE_OUTPUT_PP;
  GPIO_InitStruct.Pull = GPIO_NOPULL;
  GPIO_InitStruct.Speed = GPIO_SPEED_FREQ_LOW;
  HAL_GPIO_Init(GPIOC, &GPIO_InitStruct);

  /*Configure GPIO pins : GREEN_Pin YELLOW_Pin RED_Pin */
  GPIO_InitStruct.Pin = GREEN_Pin|YELLOW_Pin|RED_Pin;
  GPIO_InitStruct.Mode = GPIO_MODE_IT_RISING_FALLING;
  GPIO_InitStruct.Pull = GPIO_PULLUP;
  HAL_GPIO_Init(GPIOA, &GPIO_InitStruct);

  /*Configure GPIO pins : ROTARY_Pin SMPS_OK_IP_Pin */
  GPIO_InitStruct.Pin = ROTARY_Pin|SMPS_OK_IP_Pin;
  GPIO_InitStruct.Mode = GPIO_MODE_IT_RISING_FALLING;
  GPIO_InitStruct.Pull = GPIO_NOPULL;
  HAL_GPIO_Init(GPIOA, &GPIO_InitStruct);

  /*Configure GPIO pins : SMPS_CNTRL_GND_Pin EXTRA1_Pin DBG_TP_Pin */
  GPIO_InitStruct.Pin = SMPS_CNTRL_GND_Pin|EXTRA1_Pin|DBG_TP_Pin;
  GPIO_InitStruct.Mode = GPIO_MODE_OUTPUT_PP;
  GPIO_InitStruct.Pull = GPIO_NOPULL;
  GPIO_InitStruct.Speed = GPIO_SPEED_FREQ_LOW;
  HAL_GPIO_Init(GPIOA, &GPIO_InitStruct);

  /*Configure GPIO pins : SMPS_CNTRL_OP_Pin EXTRA5_Pin EXTRA6_Pin EXTRA7_Pin
                           EXTRA4_Pin EXTRA3_Pin EXTRA2_Pin CAN_LED_Pin
                           FAULT_LED_Pin */
  GPIO_InitStruct.Pin = SMPS_CNTRL_OP_Pin|EXTRA5_Pin|EXTRA6_Pin|EXTRA7_Pin
                          |EXTRA4_Pin|EXTRA3_Pin|EXTRA2_Pin|CAN_LED_Pin
                          |FAULT_LED_Pin;
  GPIO_InitStruct.Mode = GPIO_MODE_OUTPUT_PP;
  GPIO_InitStruct.Pull = GPIO_NOPULL;
  GPIO_InitStruct.Speed = GPIO_SPEED_FREQ_LOW;
  HAL_GPIO_Init(GPIOB, &GPIO_InitStruct);

  /*Configure GPIO pins : INT_B_Pin INT_A_Pin */
  GPIO_InitStruct.Pin = INT_B_Pin|INT_A_Pin;
  GPIO_InitStruct.Mode = GPIO_MODE_IT_FALLING;
  GPIO_InitStruct.Pull = GPIO_NOPULL;
  HAL_GPIO_Init(GPIOB, &GPIO_InitStruct);

  /* EXTI interrupt init*/
  HAL_NVIC_SetPriority(EXTI0_IRQn, 2, 0);
  HAL_NVIC_EnableIRQ(EXTI0_IRQn);

  HAL_NVIC_SetPriority(EXTI1_IRQn, 2, 0);
  HAL_NVIC_EnableIRQ(EXTI1_IRQn);

  HAL_NVIC_SetPriority(EXTI2_IRQn, 2, 0);
  HAL_NVIC_EnableIRQ(EXTI2_IRQn);

  HAL_NVIC_SetPriority(EXTI3_IRQn, 2, 0);
  HAL_NVIC_EnableIRQ(EXTI3_IRQn);

  HAL_NVIC_SetPriority(EXTI9_5_IRQn, 2, 0);
  HAL_NVIC_EnableIRQ(EXTI9_5_IRQn);

  HAL_NVIC_SetPriority(EXTI15_10_IRQn, 3, 0);
  HAL_NVIC_EnableIRQ(EXTI15_10_IRQn);

}

void Error_Handler(void)
{
  /* USER CODE BEGIN Error_Handler_Debug */
	//TODO here send some error Code to the App.
  /* User can add his own implementation to report the HAL error return state */
  __disable_irq();
  while (1)
  {
  }
  /* USER CODE END Error_Handler_Debug */
}
